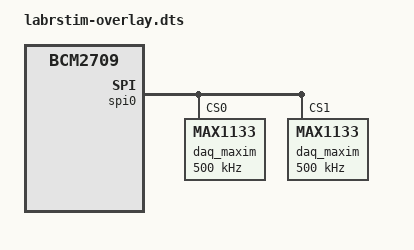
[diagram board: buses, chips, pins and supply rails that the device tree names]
/*
 * Device Tree overlay for Labrstim by Matthias Klumpp
 *
 */

/dts-v1/;
/plugin/;

/ {
	compatible = "brcm,bcm2835", "brcm,bcm2708", "brcm,bcm2709";

	fragment@0 {
		target = <&spi0>;
		__overlay__ {
			status = "okay";
		};
	};

	fragment@1 {
		target = <&spidev0>;
		__overlay__ {
			status = "disabled";
		};
	};

	fragment@2 {
		target = <&spidev1>;
		__overlay__ {
			status = "disabled";
		};
	};

	fragment@3 {
		target = <&spi0>;
		__overlay__ {
			#address-cells = <1>;
			#size-cells = <0>;

			daq_maxim@0 {
				compatible = "MAX1133";
				reg = <0>;

				spi-max-frequency = <500000>;
			};

			daq_maxim@1 {
				compatible = "MAX1133";
				reg = <1>;

				spi-max-frequency = <500000>;
			};
		};
	};
};
